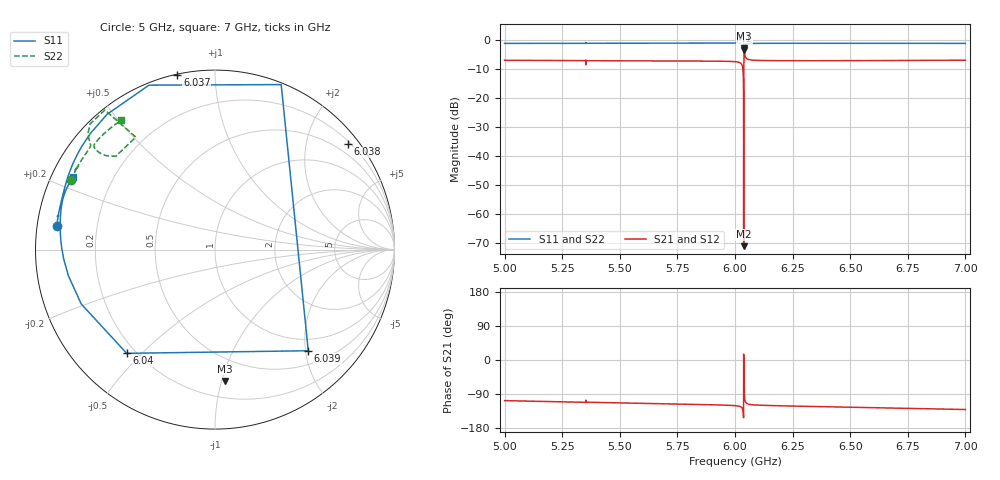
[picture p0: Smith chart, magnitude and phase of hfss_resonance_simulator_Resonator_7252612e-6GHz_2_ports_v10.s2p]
! Touchstone file exported from HFSS 2024.1.0
!  File:  C:/Users/phobo/Documents/Ansoft/hfss_resonance_simulator.aedt
!  Generated:  10:56:23 AM May 28, 2025
!  Design:  Resonator_7252612e-6GHz_2_ports_v10
!  Project:  hfss_resonance_simulator
!  Setup:  Setup1
!  Solution:  Sweep
# GHz S MA R 50.000000
! Terminal data exported
! Port[1] = 1
! Port[2] = 2
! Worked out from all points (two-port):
!   5001 points, 5 GHz to 7 GHz, reference 50 ohm
!   highest |S21| = -3.36 dB at 6.04 GHz (marker M1); lowest = -71.0 dB at 6.038 GHz (marker M2)
!   |S21| within 3 dB of the highest: 6.038735 GHz to 6.052783 GHz (14.05 MHz wide, 0.232 % of centre)
!   lowest |S11| = -2.7 dB at 6.04 GHz (marker M3), VSWR 6.53, Z = 16.2 - j51.4 ohm
!   |S11| at or under -10 dB: nowhere
!   |S22| runs from -2.7 to 0.0 dB; largest |S21 - S12| = 1.9e-13
!   S11 on the Smith chart (normalised r, x): 5 GHz: 0.06, +0.08; 6.037 GHz: 0.00, +0.81; 6.038 GHz: 0.25, +2.86; 6.039 GHz: 0.75, -2.06; 6.04 GHz: 0.17, -0.45; 7 GHz: 0.06, +0.24
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5  0.8904 171.3  0.4551 -107.2  0.4551 -107.2  0.8904 154.2
! Gamma 0 0 0 0
! Port Impedance 50 0 50 0
5.3336  0.8938 168.0  0.4485 -111.2  0.4485 -111.2  0.8938 149.6
5.6668  0.8961 164.7  0.4438 -115.2  0.4438 -115.2  0.8961 145.0
6  0.9027 159.0  0.4303 -120.4  0.4303 -120.4  0.9027 140.2
6.0236  0.9128 154.4  0.4083 -123.0  0.4083 -123.0  0.9128 139.6
6.0268  0.9172 152.4  0.3985 -124.1  0.3985 -124.1  0.9172 139.4
6.0284  0.9203 151.0  0.3913 -124.9  0.3913 -124.9  0.9203 139.3
6.0304  0.9257 148.5  0.3782 -126.2  0.3782 -126.2  0.9257 139.1
6.0372  0.9956 102.2  0.09358 -152.2  0.09358 -152.2  0.9956 133.4
6.0376  1 88.4  0.0002825 15.4  0.0002825 15.4  1 131.3
6.0384  0.9463 38.3  0.3235 -8.6  0.3235 -8.6  0.9462 124.5
6.0392  0.7664 -47.3  0.6423 -51.1  0.6423 -51.1  0.7665 125.1
6.0396  0.7342 -85.5  0.6789 -67.6  0.6789 -67.6  0.7343 130.4
6.0404  0.759 -130.4  0.6512 -86.8  0.6512 -86.8  0.759 136.8
6.0468  0.8625 175.7  0.506 -112.1  0.506 -112.1  0.8625 140.0
6.0488  0.8693 172.8  0.4944 -113.6  0.4944 -113.6  0.8693 140.0
6.0504  0.873 171.3  0.4878 -114.4  0.4878 -114.4  0.873 139.9
6.054  0.8785 168.9  0.4778 -115.7  0.4778 -115.7  0.8785 139.8
6.1004  0.8916 162.8  0.4527 -119.1  0.4527 -119.1  0.8916 139.0
6.3336  0.8944 159.2  0.4473 -122.6  0.4473 -122.6  0.8944 135.6
6.6668  0.8929 155.9  0.4503 -126.6  0.4503 -126.6  0.8929 130.8
7  0.8897 152.8  0.4565 -130.7  0.4565 -130.7  0.8897 125.9
